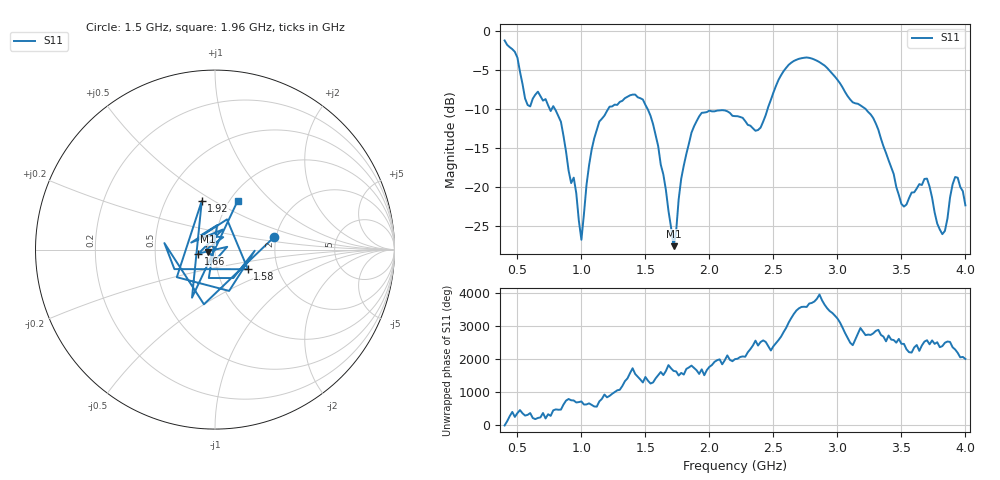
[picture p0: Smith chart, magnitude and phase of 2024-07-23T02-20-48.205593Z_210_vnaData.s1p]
!Created with skrf (http://scikit-rf.org).
# Hz S RI R 50.0
!freq ReS11 ImS11
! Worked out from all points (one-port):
!   181 points, 400 MHz to 4 GHz, reference 50 ohm
!   lowest |S11| = -27.6 dB at 1.72 GHz (marker M1), VSWR 1.09, Z = 46.2 - j1.05 ohm
!   |S11| at or under -10 dB: 791 MHz to 1.211 GHz (420.2 MHz wide, 42 % of centre); 1.515 GHz to 2.456 GHz (940.5 MHz wide, 47.4 % of centre); 3.216 GHz to end of sweep (the widest 3 of 4)
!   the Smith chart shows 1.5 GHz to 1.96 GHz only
!   S11 on the Smith chart (normalised r, x): 1.5 GHz: 1.94, +0.29; 1.58 GHz: 1.41, -0.32; 1.66 GHz: 0.83, -0.04; 1.92 GHz: 0.75, +0.44; 1.96 GHz: 1.09, +0.65
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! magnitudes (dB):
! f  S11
! 400 MHz  -1.3
! 500 MHz  -3.5
! 580 MHz  -9.5
! 660 MHz  -7.8
! 860 MHz  -13.5
! 940 MHz  -18.9
! 1 GHz  -26.8
! 1.1 GHz  -13.8
! 1.3 GHz  -9.1
! 1.5 GHz  -9.5
! 1.58 GHz  -13.4
! 1.66 GHz  -20.4
! 1.72 GHz  -27.6
! 1.76 GHz  -21.6
! 1.92 GHz  -11.0
! 1.96 GHz  -10.5
! 2.2 GHz  -11.0
! 2.38 GHz  -12.8
! 2.66 GHz  -3.9
! 2.9 GHz  -4.5
! 3.1 GHz  -8.8
! 3.28 GHz  -11.2
! 3.5 GHz  -22.2
! 3.56 GHz  -21.5
! 3.7 GHz  -19.0
! 3.82 GHz  -26.1
! 3.92 GHz  -18.8
! 4 GHz  -22.4
